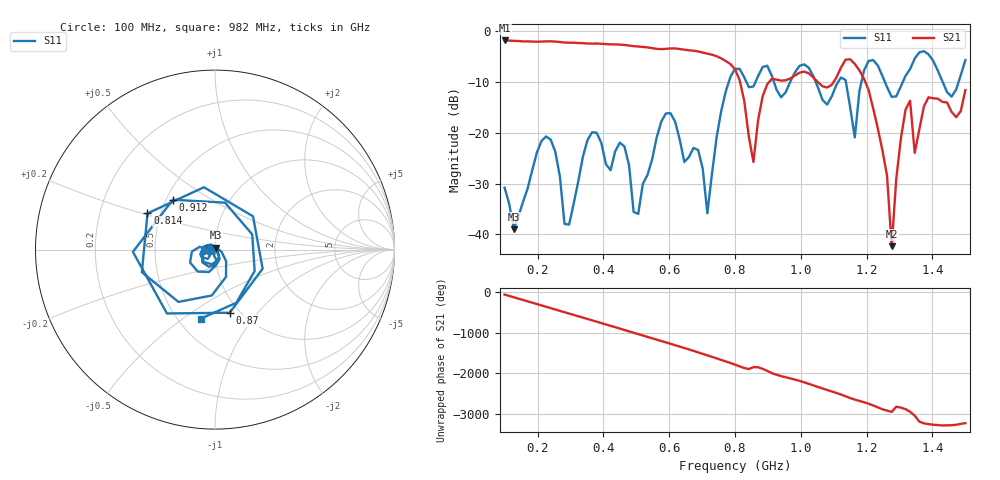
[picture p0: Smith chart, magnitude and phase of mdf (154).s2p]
! NanoVNA-App
! Date: 2025-09-25 15:39:37
! Start: 100MHz Stop: 1,5GHz Points: 101
! S-Parameter data: F S11 S21 S12 S22
# Hz S RI R 50
!  Frequency  S11_Real  S11_Imag  S21_Real  S21_Imag  S12_Real  S12_Imag  S22_Real  S22_Imag
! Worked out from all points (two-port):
!   101 points, 100 MHz to 1.5 GHz, reference 50 ohm
!   highest |S21| = -1.80 dB at 100 MHz (marker M1); lowest = -42.3 dB at 1.276 GHz (marker M2)
!   |S21| within 3 dB of the highest: start of sweep to 739.1 MHz
!   lowest |S11| = -38.9 dB at 128 MHz (marker M3), VSWR 1.02, Z = 50.3 + j1.08 ohm
!   |S11| at or under -10 dB: start of sweep to 781 MHz; 1.045 GHz to 1.113 GHz (67.81 MHz wide, 6.28 % of centre); 1.256 GHz to 1.31 GHz (54.11 MHz wide, 4.22 % of centre) (the widest 3 of 7)
!   S12 and S22 are empty: the file has one direction only
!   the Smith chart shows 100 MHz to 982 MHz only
!   S11 on the Smith chart (normalised r, x): 100 MHz: 0.94, -0.01; 814 MHz: 0.42, +0.21; 870 MHz: 0.90, -0.73; 912 MHz: 0.54, +0.35; 982 MHz: 0.64, -0.59
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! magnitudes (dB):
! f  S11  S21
! 100 MHz  -30.8  -1.8
! 128 MHz  -38.9  -1.9
! 212 MHz  -21.6  -2.0
! 282 MHz  -37.9  -2.2
! 338 MHz  -24.7  -2.3
! 464 MHz  -22.7  -2.7
! 506 MHz  -35.9  -3.0
! 576 MHz  -17.8  -3.5
! 716 MHz  -35.8  -4.4
! 800 MHz  -7.4  -7.5
! 814 MHz  -7.4  -9.6
! 856 MHz  -10.9  -25.7
! 870 MHz  -8.8  -17.6
! 912 MHz  -8.8  -9.4
! 982 MHz  -8.1  -8.7
! 1.038 GHz  -8.8  -9.1
! 1.164 GHz  -20.9  -6.4
! 1.192 GHz  -7.7  -9.3
! 1.276 GHz  -12.9  -42.3
! 1.318 GHz  -8.8  -15.5
! 1.346 GHz  -5.4  -23.9
! 1.5 GHz  -5.7  -11.6
